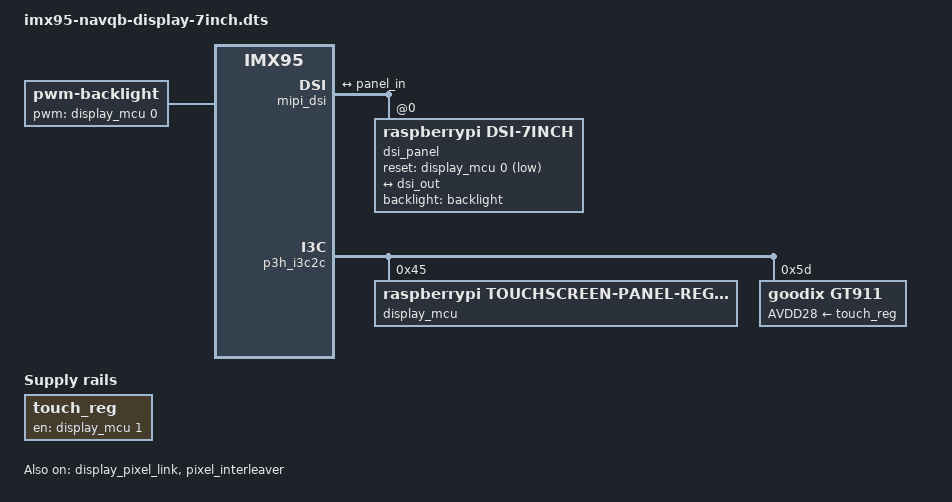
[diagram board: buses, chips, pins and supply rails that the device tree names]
// SPDX-License-Identifier: (GPL-2.0+ OR MIT)
/*
 * Copyright 2026 NXP
 */

#include "imx95-navqb.dts"

/ {
	touch_reg: touch_reg {
		compatible = "regulator-fixed";
		regulator-name = "touch_reg_1";
		gpio = <&display_mcu 1 GPIO_ACTIVE_HIGH>;
		startup-delay-us = <50000>;
		enable-active-high;
	};

	backlight: panel_backlight@1 {
		compatible = "pwm-backlight";
		brightness-levels = <0 31>;
		num-interpolated-steps = <31>;
		default-brightness-level = <15>;
		pwms = <&display_mcu 0 200000 0>;
	};
};

&mipi_dsi {
	#address-cells = <1>;
	#size-cells = <0>;
	status = "okay";

	dsi_panel: dsi_panel@0 {
		reg = <0>;
		compatible = "raspberrypi,dsi-7inch";
		reset-gpio = <&display_mcu 0 GPIO_ACTIVE_LOW>;
		backlight = <&backlight>;
		status = "okay";

		port {
			panel_in: endpoint {
				remote-endpoint = <&dsi_out>;
			};
		};
	};

	ports {
		#address-cells = <1>;
		#size-cells = <0>;

		port@1 {
			reg = <1>;

			dsi_out: endpoint {
				remote-endpoint = <&panel_in>;
			};
		};
	};
};

&display_pixel_link {
	status = "okay";
};

&pixel_interleaver {
	#address-cells = <1>;
	#size-cells = <0>;
	status = "okay";

	channel@0 {
		reg = <0>;
		status = "okay";
	};
};

&p3h_i3c2c {
	display_mcu: display_mcu@45	{
		compatible = "raspberrypi,touchscreen-panel-regulator-v2";
		reg = <0x45>;
		gpio-controller;
		#gpio-cells = <2>;
		#pwm-cells = <3>;
		status = "okay";
	};

	gt911: gt911@5d {
		compatible = "goodix,gt911";
		reg = <0x5d>;
		AVDD28-supply = <&touch_reg>;
		touchscreen-size-x = <720>;
		touchscreen-size-y = <1280>;
		touchscreen-x-mm = <90>;
		touchscreen-y-mm = <151>;
		status = "okay";
	};

};
